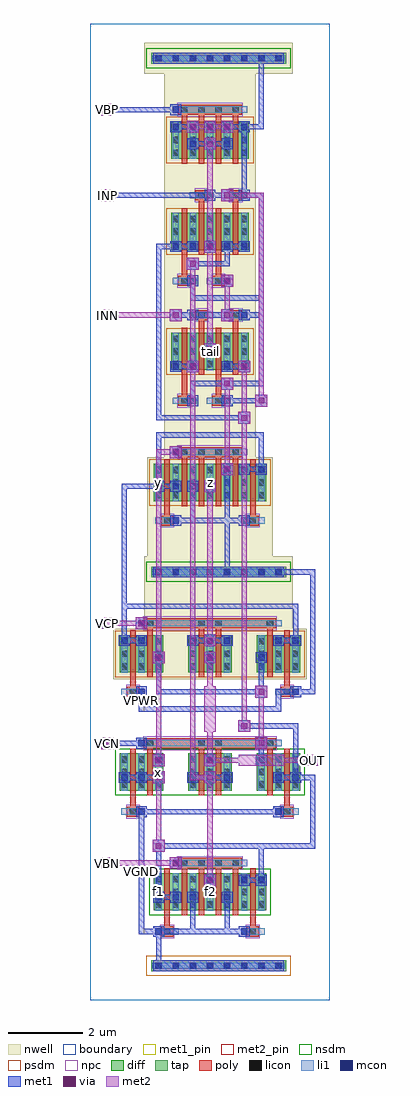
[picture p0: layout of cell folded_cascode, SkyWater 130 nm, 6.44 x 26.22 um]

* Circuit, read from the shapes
.subckt folded_cascode INN INP OUT VBN VBP VCN VCP VGND VPWR f1 f2 tail x y z
XM1 f1 VGND f1 VGND sky130_fd_pr__nfet_01v8 w=1 l=0.15 m=4
XM2 x VCN f1 VGND sky130_fd_pr__nfet_01v8 w=1 l=0.15 m=2
XM3 VGND VBN f1 VGND sky130_fd_pr__nfet_01v8 w=1 l=0.15 m=2
XM4 f2 VBN VGND VGND sky130_fd_pr__nfet_01v8 w=1 l=0.15 m=2
XM5 OUT VCN f2 VGND sky130_fd_pr__nfet_01v8 w=1 l=0.15 m=2
XM6 y VPWR y VPWR sky130_fd_pr__pfet_01v8 w=1 l=0.15 m=4
XM7 x VCP y VPWR sky130_fd_pr__pfet_01v8 w=1 l=0.15 m=2
XM8 VPWR x y VPWR sky130_fd_pr__pfet_01v8 w=1 l=0.15 m=2
XM9 f2 VPWR f2 VPWR sky130_fd_pr__pfet_01v8 w=1 l=0.15 m=2
XM10 f1 VPWR f1 VPWR sky130_fd_pr__pfet_01v8 w=1 l=0.15 m=2
XM11 tail VBP VPWR VPWR sky130_fd_pr__pfet_01v8 w=1 l=0.15 m=4
XM12 OUT VCP z VPWR sky130_fd_pr__pfet_01v8 w=1 l=0.15 m=2
XM13 z x VPWR VPWR sky130_fd_pr__pfet_01v8 w=1 l=0.15 m=2
XM14 tail INN f2 VPWR sky130_fd_pr__pfet_01v8 w=1 l=0.15 m=2
XM15 tail INP f1 VPWR sky130_fd_pr__pfet_01v8 w=1 l=0.15 m=2
.ends

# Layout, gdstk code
import gdstk
lib = gdstk.Library(unit=1e-6, precision=1e-09)
def R(c, l, rs):  # rectangles x0, y0, x1, y1
    for r in rs: c.add(gdstk.rectangle(r[:2], r[2:], *l))
def A(c, l, x, y, w, h, nx, ny, dx, dy):  # array of equal rectangles
    R(c, l, [(x+i*dx, y+j*dy, x+i*dx+w, y+j*dy+h) for i in range(nx) for j in range(ny)])
nwell = (64, 20)
diff = (65, 20)
tap = (65, 44)
poly = (66, 20)
licon = (66, 44)
li1 = (67, 20)
mcon = (67, 44)
met1_pin = (68, 16)
met1 = (68, 20)
via = (68, 44)
met2_pin = (69, 16)
met2 = (69, 20)
nsdm = (93, 44)
psdm = (94, 20)
npc = (95, 20)
boundary = (235, 4)

folded_cascode = lib.new_cell('folded_cascode')
R(folded_cascode, nwell, [(0.615,8.62,5.825,9.98), (1.455,9.98,5.445,11.92), (1.535,11.92,4.905,14.58), (1.995,14.58,4.445,24.88), (1.455,24.88,5.445,25.72)])
A(folded_cascode, diff, 0.795, 5.625, 1.17, 1, 3, 2, 1.84, 3.175)
R(folded_cascode, diff, [(1.715,2.405,4.725,3.405), (1.715,13.4,4.725,14.4), (2.175,16.925,4.265,17.925), (2.175,20.145,4.265,21.145), (2.175,22.6,4.265,23.6)])
R(folded_cascode, tap, [(1.635,0.775,5.265,1.065), (1.635,11.355,5.265,11.645), (1.635,25.155,5.265,25.445)])
A(folded_cascode, poly, 2.455, 2.275, 0.15, 1.405, 4, 1, 0.46, 0)
A(folded_cascode, poly, 2.455, 13.27, 0.15, 1.45, 4, 2, 0.46, 9.2)
R(folded_cascode, poly, [(1.905,1.705,2.235,1.975), (4.205,1.705,4.535,1.975), (1.995,1.84,2.145,3.535), (4.295,1.84,4.445,3.535), (2.365,3.545,4.075,3.815), (0.985,4.925,1.315,5.195), (5.125,4.925,5.455,5.195), (1.075,5.06,1.225,6.755), (5.215,5.06,5.365,6.755), (1.535,5.495,1.685,6.9), (2.915,5.495,3.065,6.9), (3.375,5.495,3.525,6.9), (4.755,5.495,4.905,6.9), (1.445,6.765,4.995,7.035), (0.985,8.145,1.315,8.415), (5.125,8.145,5.455,8.415), (1.075,8.28,1.225,9.93), (5.215,8.28,5.365,9.93), (1.535,8.67,1.685,10.12), (2.915,8.67,3.065,10.12), (3.375,8.67,3.525,10.12), (4.755,8.67,4.905,10.12), (1.445,9.985,4.995,10.255), (1.905,12.745,2.235,13.015), (4.205,12.745,4.535,13.015), (1.995,12.88,2.145,14.53), (4.295,12.88,4.445,14.53), (2.365,14.585,4.075,14.855), (2.365,15.965,2.695,16.235), (3.285,15.965,3.615,16.235), (2.455,16.1,2.605,18.055), (3.375,16.1,3.525,18.055), (2.915,16.795,3.065,18.4), (3.835,16.795,3.985,18.4), (2.825,18.265,3.155,18.535), (3.745,18.265,4.075,18.535), (2.365,19.185,2.695,19.455), (3.285,19.185,3.615,19.455), (2.455,19.32,2.605,21.275), (3.375,19.32,3.525,21.275), (2.915,20.015,3.065,21.62), (3.835,20.015,3.985,21.62), (2.825,21.485,3.155,21.755), (3.745,21.485,4.075,21.755), (2.365,23.785,4.075,24.055)])
A(folded_cascode, licon, 1.755, 0.835, 0.17, 0.17, 8, 2, 0.46, 10.58)
A(folded_cascode, licon, 1.755, 2.48, 0.17, 0.17, 7, 3, 0.46, 0.34)
A(folded_cascode, licon, 2.445, 3.595, 0.17, 0.17, 4, 2, 0.46, 11.04)
A(folded_cascode, licon, 0.835, 5.7, 0.17, 0.17, 3, 3, 0.46, 0.34)
A(folded_cascode, licon, 2.675, 5.7, 0.17, 0.17, 3, 3, 0.46, 0.34)
A(folded_cascode, licon, 4.515, 5.7, 0.17, 0.17, 3, 3, 0.46, 0.34)
A(folded_cascode, licon, 0.835, 8.875, 0.17, 0.17, 3, 3, 0.46, 0.34)
A(folded_cascode, licon, 2.675, 8.875, 0.17, 0.17, 3, 3, 0.46, 0.34)
A(folded_cascode, licon, 4.515, 8.875, 0.17, 0.17, 3, 3, 0.46, 0.34)
A(folded_cascode, licon, 1.755, 13.475, 0.17, 0.17, 7, 3, 0.46, 0.34)
A(folded_cascode, licon, 2.215, 17, 0.17, 0.17, 5, 3, 0.46, 0.34)
A(folded_cascode, licon, 2.215, 20.22, 0.17, 0.17, 5, 3, 0.46, 0.34)
A(folded_cascode, licon, 2.215, 22.675, 0.17, 0.17, 5, 3, 0.46, 0.34)
A(folded_cascode, licon, 2.445, 23.835, 0.17, 0.17, 4, 1, 0.46, 0)
A(folded_cascode, licon, 1.755, 25.215, 0.17, 0.17, 8, 1, 0.46, 0)
R(folded_cascode, licon, [(1.985,1.755,2.155,1.925), (4.285,1.755,4.455,1.925), (1.065,4.975,1.235,5.145), (5.205,4.975,5.375,5.145), (1.525,6.815,1.695,6.985), (2.905,6.815,3.075,6.985), (3.365,6.815,3.535,6.985), (4.745,6.815,4.915,6.985), (1.065,8.195,1.235,8.365), (5.205,8.195,5.375,8.365), (1.525,10.035,1.695,10.205), (2.905,10.035,3.075,10.205), (3.365,10.035,3.535,10.205), (4.745,10.035,4.915,10.205), (1.985,12.795,2.155,12.965), (4.285,12.795,4.455,12.965), (2.445,16.015,2.615,16.185), (3.365,16.015,3.535,16.185), (2.905,18.315,3.075,18.485), (3.825,18.315,3.995,18.485), (2.445,19.235,2.615,19.405), (3.365,19.235,3.535,19.405), (2.905,21.535,3.075,21.705), (3.825,21.535,3.995,21.705)])
A(folded_cascode, li1, 1.755, 2.4, 0.17, 1.01, 7, 2, 0.46, 10.995)
A(folded_cascode, li1, 0.835, 5.62, 0.17, 1.01, 3, 2, 0.46, 3.175)
A(folded_cascode, li1, 2.675, 5.62, 0.17, 1.01, 3, 2, 0.46, 3.175)
A(folded_cascode, li1, 4.515, 5.62, 0.17, 1.01, 3, 2, 0.46, 3.175)
A(folded_cascode, li1, 2.215, 16.92, 0.17, 1.01, 5, 2, 0.46, 3.22)
A(folded_cascode, li1, 2.215, 22.595, 0.17, 1.01, 5, 1, 0.46, 0)
R(folded_cascode, li1, [(1.675,0.835,5.225,1.005), (1.755,1.755,2.385,1.925), (4.055,1.755,4.685,1.925), (2.215,3.595,4.225,3.765), (0.835,4.975,1.465,5.145), (4.975,4.975,5.605,5.145), (1.295,6.815,5.145,6.985), (0.835,8.195,1.465,8.365), (4.975,8.195,5.605,8.365), (1.295,10.035,5.145,10.205), (1.675,11.415,5.225,11.585), (1.755,12.795,2.385,12.965), (4.055,12.795,4.685,12.965), (2.215,14.635,4.225,14.805), (2.215,16.015,2.845,16.185), (3.135,16.015,3.765,16.185), (2.675,18.315,3.305,18.485), (3.595,18.315,4.225,18.485), (2.215,19.235,2.845,19.405), (3.135,19.235,3.765,19.405), (2.675,21.535,3.305,21.705), (3.595,21.535,4.225,21.705), (2.215,23.835,4.225,24.005), (1.675,25.215,5.225,25.385)])
A(folded_cascode, mcon, 1.755, 0.835, 0.17, 0.17, 8, 2, 0.46, 10.58)
A(folded_cascode, mcon, 1.755, 2.675, 0.17, 0.17, 3, 1, 0.46, 0)
A(folded_cascode, mcon, 1.295, 4.975, 0.17, 0.17, 1, 3, 0, 0.92)
A(folded_cascode, mcon, 1.755, 6.355, 0.17, 0.17, 3, 2, 1.38, 2.76)
A(folded_cascode, mcon, 1.755, 13.715, 0.17, 0.17, 4, 1, 0.46, 0)
A(folded_cascode, mcon, 3.595, 14.175, 0.17, 0.17, 3, 1, 0.46, 0)
A(folded_cascode, mcon, 2.215, 20.155, 0.17, 0.17, 5, 1, 0.46, 0)
A(folded_cascode, mcon, 2.215, 23.375, 0.17, 0.17, 3, 1, 0.92, 0)
A(folded_cascode, mcon, 1.755, 25.215, 0.17, 0.17, 8, 1, 0.46, 0)
R(folded_cascode, mcon, [(1.755,1.755,1.925,1.925), (4.055,1.755,4.225,1.925), (3.595,2.675,3.765,2.845), (3.135,3.135,3.305,3.305), (4.055,3.135,4.225,3.305), (4.515,3.135,4.685,3.305), (2.215,3.595,2.385,3.765), (4.975,4.975,5.145,5.145), (0.835,5.895,1.005,6.065), (2.675,5.895,2.845,6.065), (3.595,5.895,3.765,6.065), (4.975,5.895,5.145,6.065), (5.435,5.895,5.605,6.065), (1.295,8.195,1.465,8.365), (5.435,8.195,5.605,8.365), (0.835,9.575,1.005,9.745), (1.295,9.575,1.465,9.745), (2.675,9.575,2.845,9.745), (3.595,9.575,3.765,9.745), (4.975,9.575,5.145,9.745), (5.435,9.575,5.605,9.745), (1.295,10.035,1.465,10.205), (2.215,12.795,2.385,12.965), (4.055,12.795,4.225,12.965), (2.215,14.635,2.385,14.805), (2.675,16.015,2.845,16.185), (3.595,16.015,3.765,16.185), (2.215,16.935,2.385,17.105), (2.675,16.935,2.845,17.105), (3.595,16.935,3.765,17.105), (4.055,16.935,4.225,17.105), (3.135,17.395,3.305,17.565), (2.675,18.315,2.845,18.485), (4.055,18.315,4.225,18.485), (2.675,19.235,2.845,19.405), (3.595,19.235,3.765,19.405), (3.135,21.535,3.305,21.705), (4.055,21.535,4.225,21.705), (2.675,22.915,2.845,23.085), (3.595,22.915,3.765,23.085), (2.215,23.835,2.385,24.005)])
R(folded_cascode, met1_pin, [(1.31,1.77,1.45,5.13), (1.31,7.75,1.45,8.35)])
A(folded_cascode, met1, 1.695, 2.615, 0.29, 0.29, 3, 1, 0.46, 0)
A(folded_cascode, met1, 1.235, 4.915, 0.29, 0.29, 1, 3, 0, 0.92)
A(folded_cascode, met1, 1.695, 6.295, 0.29, 0.29, 3, 2, 1.38, 2.76)
A(folded_cascode, met1, 1.695, 13.655, 0.29, 0.29, 4, 1, 0.46, 0)
A(folded_cascode, met1, 3.535, 14.115, 0.29, 0.29, 3, 1, 0.46, 0)
A(folded_cascode, met1, 3.61, 16.95, 0.6, 0.14, 1, 3, 0, 3.22)
A(folded_cascode, met1, 3.06, 17.32, 0.32, 0.32, 1, 3, 0, 2.76)
A(folded_cascode, met1, 2.155, 20.095, 0.29, 0.29, 5, 1, 0.46, 0)
A(folded_cascode, met1, 2.6, 23.3, 0.32, 0.32, 3, 1, 0.46, 0)
A(folded_cascode, met1, 2.155, 23.315, 0.29, 0.29, 3, 1, 0.92, 0)
R(folded_cascode, met1, [(1.695,0.775,5.205,1.065), (1.77,0.85,1.91,1.91), (1.77,0.85,1.91,0.99), (1.695,1.695,1.985,1.985), (3.995,1.695,4.285,1.985), (1.31,1.77,1.91,1.91), (1.31,1.77,1.45,5.13), (1.77,1.77,2.83,1.91), (2.69,1.77,2.83,2.83), (2.69,1.77,4.21,1.91), (3.61,1.77,3.75,2.83), (3.535,2.615,3.825,2.905), (1.77,2.69,1.91,4.21), (1.77,2.69,2.37,2.83), (3.06,3.06,3.38,3.38), (3.075,3.075,3.365,3.365), (3.995,3.075,4.285,3.365), (4.455,3.075,4.745,3.365), (4.07,3.15,4.67,3.29), (4.53,3.15,4.67,4.21), (2.14,3.52,2.46,3.84), (2.155,3.535,2.445,3.825), (1.68,3.98,2,4.3), (1.77,4.07,4.67,4.21), (4.53,4.07,6.05,4.21), (5.91,4.07,6.05,6.05), (4.915,4.915,5.205,5.205), (1.31,4.99,5.13,5.13), (1.68,5.82,2,6.14), (3.06,5.82,3.38,6.14), (0.775,5.835,1.065,6.125), (2.615,5.835,2.905,6.125), (3.535,5.835,3.825,6.125), (4.915,5.835,5.205,6.125), (5.375,5.835,5.665,6.125), (0.85,5.91,1.45,6.05), (1.31,5.91,1.91,6.05), (2.69,5.91,3.29,6.05), (3.15,5.91,3.75,6.05), (4.99,5.91,5.59,6.05), (5.45,5.91,5.59,7.43), (5.45,5.91,6.05,6.05), (1.68,6.28,2,6.6), (3.06,6.28,3.38,6.6), (4.53,6.37,4.67,6.97), (0.3,6.74,0.62,7.06), (4.44,6.74,4.76,7.06), (0.39,6.83,1.45,6.97), (3.98,7.2,4.3,7.52), (4.07,7.29,5.59,7.43), (1.31,7.75,1.45,8.35), (1.31,7.75,5.13,7.89), (4.99,7.75,5.13,8.35), (4.44,8.12,4.76,8.44), (1.235,8.135,1.525,8.425), (5.375,8.135,5.665,8.425), (1.77,8.21,1.91,9.27), (1.77,8.21,4.67,8.35), (4.53,8.21,4.67,9.27), (4.99,8.21,5.59,8.35), (5.45,8.21,6.05,8.35), (5.91,8.21,6.05,11.57), (1.68,9.04,2,9.36), (3.06,9.04,3.38,9.36), (3.06,9.5,3.38,9.82), (0.775,9.515,1.065,9.805), (1.235,9.515,1.525,9.805), (2.615,9.515,2.905,9.805), (3.535,9.515,3.825,9.805), (4.915,9.515,5.205,9.805), (5.375,9.515,5.665,9.805), (0.85,9.59,0.99,13.87), (0.85,9.59,1.45,9.73), (2.69,9.59,3.29,9.73), (3.15,9.59,3.75,9.73), (4.99,9.59,5.59,9.73), (5.45,9.59,5.59,10.65), (1.22,9.96,1.54,10.28), (1.235,9.975,1.525,10.265), (0.85,10.51,5.59,10.65), (1.695,11.355,5.205,11.645), (3.61,11.43,3.75,12.95), (3.61,11.43,3.75,11.57), (3.61,11.43,6.05,11.57), (2.155,12.735,2.445,13.025), (3.995,12.735,4.285,13.025), (2.23,12.81,3.75,12.95), (2.69,12.81,2.83,13.87), (3.61,12.81,3.75,14.33), (3.61,12.81,4.21,12.95), (3.06,13.64,3.38,13.96), (0.85,13.73,1.91,13.87), (1.77,13.73,1.91,15.25), (1.77,13.73,2.37,13.87), (3.52,14.1,3.84,14.42), (4.07,14.19,4.67,14.33), (4.53,14.19,4.67,15.25), (2.14,14.56,2.46,14.88), (2.155,14.575,2.445,14.865), (1.77,15.11,4.67,15.25), (3.98,15.48,4.3,15.8), (1.77,15.57,4.21,15.71), (1.77,15.57,1.91,20.31), (4.44,15.94,4.76,16.26), (2.615,15.955,2.905,16.245), (3.535,15.955,3.825,16.245), (2.69,16.03,2.83,16.63), (3.61,16.03,4.67,16.17), (3.52,16.4,3.84,16.72), (2.69,16.49,4.67,16.63), (4.53,16.49,4.67,18.47), (2.6,16.86,2.92,17.18), (3.98,16.86,4.3,17.18), (2.155,16.875,2.445,17.165), (2.615,16.875,2.905,17.165), (3.535,16.875,3.825,17.165), (3.995,16.875,4.285,17.165), (2.23,16.95,2.83,17.09), (3.075,17.335,3.365,17.625), (2.14,18.24,2.46,18.56), (3.52,18.24,3.84,18.56), (2.615,18.255,2.905,18.545), (3.995,18.255,4.285,18.545), (2.23,18.33,2.83,18.47), (2.69,18.33,3.75,18.47), (4.07,18.33,4.67,18.47), (4.53,18.33,4.67,21.69), (2.69,18.79,2.83,19.39), (2.69,18.79,4.67,18.93), (3.52,19.16,3.84,19.48), (2.615,19.175,2.905,19.465), (3.535,19.175,3.825,19.465), (2.6,19.62,2.92,19.94), (2.69,19.71,3.75,19.85), (3.61,19.71,3.75,20.31), (1.77,20.17,2.37,20.31), (2.23,20.17,2.83,20.31), (0.3,21.46,0.62,21.78), (3.52,21.46,3.84,21.78), (3.075,21.475,3.365,21.765), (3.995,21.475,4.285,21.765), (0.39,21.55,3.29,21.69), (3.15,21.55,3.75,21.69), (4.07,21.55,4.67,21.69), (4.07,21.55,4.21,23.53), (2.615,22.855,2.905,23.145), (3.535,22.855,3.825,23.145), (2.69,22.93,3.29,23.07), (3.15,22.93,3.75,23.07), (2.23,23.39,2.83,23.53), (4.07,23.39,4.67,23.53), (4.53,23.39,4.67,25.37), (0.3,23.76,0.62,24.08), (2.155,23.775,2.445,24.065), (0.39,23.85,2.37,23.99), (1.695,25.155,5.205,25.445), (4.53,25.23,4.67,25.37)])
A(folded_cascode, via, 3.145, 17.405, 0.15, 0.15, 1, 3, 0, 2.76)
A(folded_cascode, via, 2.685, 23.385, 0.15, 0.15, 3, 1, 0.46, 0)
R(folded_cascode, via, [(3.145,3.145,3.295,3.295), (2.225,3.605,2.375,3.755), (1.765,4.065,1.915,4.215), (1.765,5.905,1.915,6.055), (3.145,5.905,3.295,6.055), (1.765,6.365,1.915,6.515), (3.145,6.365,3.295,6.515), (0.385,6.825,0.535,6.975), (4.525,6.825,4.675,6.975), (4.065,7.285,4.215,7.435), (4.525,8.205,4.675,8.355), (1.765,9.125,1.915,9.275), (3.145,9.125,3.295,9.275), (3.145,9.585,3.295,9.735), (1.305,10.045,1.455,10.195), (3.145,13.725,3.295,13.875), (3.605,14.185,3.755,14.335), (2.225,14.645,2.375,14.795), (4.065,15.565,4.215,15.715), (4.525,16.025,4.675,16.175), (3.605,16.485,3.755,16.635), (2.685,16.945,2.835,17.095), (4.065,16.945,4.215,17.095), (2.225,18.325,2.375,18.475), (3.605,18.325,3.755,18.475), (3.605,19.245,3.755,19.395), (2.685,19.705,2.835,19.855), (0.385,21.545,0.535,21.695), (3.605,21.545,3.755,21.695), (0.385,23.845,0.535,23.995)])
A(folded_cascode, met2_pin, 0.31, 3.53, 0.3, 0.3, 1, 3, 0, 3.22)
R(folded_cascode, met2_pin, [(5.83,6.29,6.13,6.59), (0.31,18.25,0.61,18.55), (0.31,21.47,0.61,21.77), (0.31,23.77,0.61,24.07)])
A(folded_cascode, met2, 0.31, 3.53, 0.3, 0.3, 1, 3, 0, 3.22)
A(folded_cascode, met2, 0.39, 3.61, 0.14, 0.14, 1, 3, 0, 3.22)
A(folded_cascode, met2, 3.06, 17.32, 0.32, 0.32, 1, 3, 0, 2.76)
A(folded_cascode, met2, 2.6, 23.3, 0.32, 0.32, 3, 1, 0.46, 0)
R(folded_cascode, met2, [(3.06,3.06,3.38,3.38), (3.15,3.15,3.29,6.05), (2.14,3.52,2.46,3.84), (0.39,3.61,2.37,3.75), (1.68,3.98,2,4.3), (1.77,4.07,1.91,6.05), (1.68,5.82,2,6.14), (3.06,5.82,3.38,6.14), (2.69,5.91,3.29,6.05), (2.69,5.91,2.83,17.09), (1.68,6.28,2,6.6), (3.06,6.28,3.38,6.6), (3.99,6.29,5.21,6.59), (5.83,6.29,6.13,6.59), (1.77,6.37,1.91,9.27), (3.15,6.37,3.29,7.43), (3.15,6.37,4.21,6.51), (4.99,6.37,6.05,6.51), (5.91,6.37,6.05,6.51), (0.3,6.74,0.62,7.06), (4.44,6.74,4.76,7.06), (4.53,6.83,4.67,8.35), (3.98,7.2,4.3,7.52), (3.07,7.21,3.37,8.43), (4.07,7.29,4.21,17.09), (4.44,8.12,4.76,8.44), (3.15,8.21,3.29,9.27), (1.68,9.04,2,9.36), (3.06,9.04,3.38,9.36), (1.77,9.13,1.91,14.79), (3.06,9.5,3.38,9.82), (3.15,9.59,3.29,13.87), (1.22,9.96,1.54,10.28), (0.39,10.05,1.45,10.19), (3.06,13.64,3.38,13.96), (3.52,14.1,3.84,14.42), (3.61,14.19,3.75,16.63), (2.14,14.56,2.46,14.88), (1.77,14.65,2.37,14.79), (3.98,15.48,4.3,15.8), (4.44,15.94,4.76,16.26), (4.53,16.03,4.67,21.69), (3.52,16.4,3.84,16.72), (2.6,16.86,2.92,17.18), (3.98,16.86,4.3,17.18), (2.69,16.95,2.83,19.85), (3.15,17.41,3.29,20.31), (2.14,18.24,2.46,18.56), (3.52,18.24,3.84,18.56), (0.31,18.25,0.61,18.55), (0.39,18.33,0.53,18.47), (0.39,18.33,2.37,18.47), (3.61,18.33,3.75,19.39), (3.52,19.16,3.84,19.48), (2.6,19.62,2.92,19.94), (3.15,20.17,3.29,23.07), (0.3,21.46,0.62,21.78), (3.52,21.46,3.84,21.78), (0.31,21.47,0.61,21.77), (0.39,21.55,0.53,21.69), (3.61,21.55,4.67,21.69), (2.69,23.39,3.29,23.53), (3.15,23.39,3.75,23.53), (0.3,23.76,0.62,24.08), (0.31,23.77,0.61,24.07), (0.39,23.85,0.53,23.99)])
R(folded_cascode, nsdm, [(1.59,2.28,4.85,3.53), (0.67,5.5,5.77,6.75), (1.51,11.23,5.39,11.77), (1.51,25.03,5.39,25.57)])
R(folded_cascode, psdm, [(1.51,0.65,5.39,1.19), (0.67,8.675,5.77,9.925), (1.59,13.275,4.85,14.525), (2.05,16.8,4.39,18.05), (2.05,20.02,4.39,21.27), (2.05,22.475,4.39,23.725)])
R(folded_cascode, npc, [(1.885,1.655,2.255,2.025), (4.185,1.655,4.555,2.025), (2.345,3.495,4.095,3.865), (0.965,4.875,1.335,5.245), (5.105,4.875,5.475,5.245), (1.425,6.715,5.015,7.085), (0.965,8.095,1.335,8.465), (5.105,8.095,5.475,8.465), (1.425,9.935,5.015,10.305), (1.885,12.695,2.255,13.065), (4.185,12.695,4.555,13.065), (2.345,14.535,4.095,14.905), (2.345,15.915,2.715,16.285), (3.265,15.915,3.635,16.285), (2.805,18.215,3.175,18.585), (3.725,18.215,4.095,18.585), (2.345,19.135,2.715,19.505), (3.265,19.135,3.635,19.505), (2.805,21.435,3.175,21.805), (3.725,21.435,4.095,21.805), (2.345,23.735,4.095,24.105)])
R(folded_cascode, boundary, [(0,0,6.44,26.22)])
folded_cascode.add(gdstk.Label('f1', (1.84,2.905), layer=67, texttype=5))
folded_cascode.add(gdstk.Label('f2', (3.22,2.905), layer=67, texttype=5))
folded_cascode.add(gdstk.Label('x', (1.84,6.125), layer=67, texttype=5))
folded_cascode.add(gdstk.Label('y', (1.84,13.9), layer=67, texttype=5))
folded_cascode.add(gdstk.Label('z', (3.22,13.9), layer=67, texttype=5))
folded_cascode.add(gdstk.Label('tail', (3.22,17.425), layer=67, texttype=5))
folded_cascode.add(gdstk.Label('VPWR', (1.38,8.05), layer=68, texttype=5))
folded_cascode.add(gdstk.Label('VGND', (1.38,3.45), layer=68, texttype=5))
folded_cascode.add(gdstk.Label('INP', (0.46,21.62), layer=69, texttype=5))
folded_cascode.add(gdstk.Label('INN', (0.46,18.4), layer=69, texttype=5))
folded_cascode.add(gdstk.Label('VBP', (0.46,23.92), layer=69, texttype=5))
folded_cascode.add(gdstk.Label('VBN', (0.46,3.68), layer=69, texttype=5))
folded_cascode.add(gdstk.Label('VCN', (0.46,6.9), layer=69, texttype=5))
folded_cascode.add(gdstk.Label('VCP', (0.46,10.12), layer=69, texttype=5))
folded_cascode.add(gdstk.Label('OUT', (5.98,6.44), layer=69, texttype=5))
folded_cascode.add(gdstk.Label('VPWR', (1.38,8.05), layer=68, texttype=16))
folded_cascode.add(gdstk.Label('VGND', (1.38,3.45), layer=68, texttype=16))
folded_cascode.add(gdstk.Label('INP', (0.46,21.62), layer=69, texttype=16))
folded_cascode.add(gdstk.Label('INN', (0.46,18.4), layer=69, texttype=16))
folded_cascode.add(gdstk.Label('VBP', (0.46,23.92), layer=69, texttype=16))
folded_cascode.add(gdstk.Label('VBN', (0.46,3.68), layer=69, texttype=16))
folded_cascode.add(gdstk.Label('VCN', (0.46,6.9), layer=69, texttype=16))
folded_cascode.add(gdstk.Label('VCP', (0.46,10.12), layer=69, texttype=16))
folded_cascode.add(gdstk.Label('OUT', (5.98,6.44), layer=69, texttype=16))

lib.write_gds('folded_cascode.gds')
